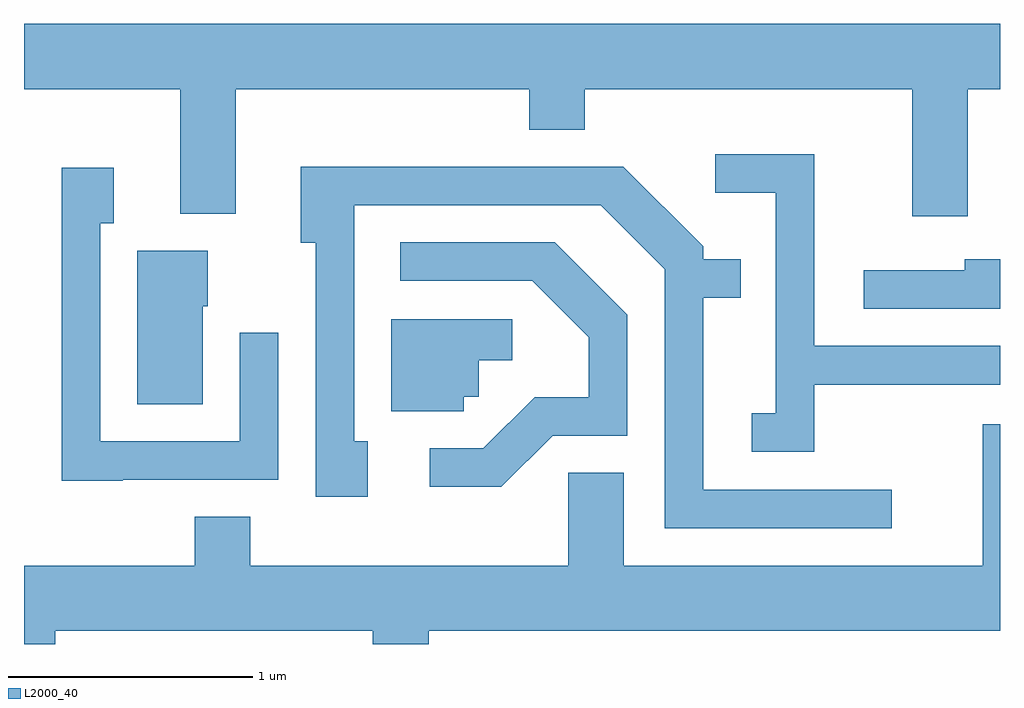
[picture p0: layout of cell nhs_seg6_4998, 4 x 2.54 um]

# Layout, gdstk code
import gdstk
lib = gdstk.Library(unit=1e-6, precision=1e-09)
def P(c, l, *ps):  # polygons
    for p in ps: c.add(gdstk.Polygon(p, *l))
L2000_40 = (2000, 40)

nhs_seg6_4998 = lib.new_cell('nhs_seg6_4998')
P(nhs_seg6_4998, L2000_40, [(341.479,1594.436),(341.611,1594.436),(341.611,1594.704),(337.611,1594.704),(337.611,1594.436),(338.251,1594.436),(338.251,1593.926),(338.479,1593.926),(338.479,1594.436),(339.681,1594.436),(339.681,1594.271),(339.909,1594.271),(339.909,1594.436),(341.251,1594.436),(341.251,1593.916),(341.479,1593.916)],
  [(340.849,1593.226),(341.611,1593.226),(341.611,1593.384),(340.849,1593.384),(340.849,1594.169),(340.443,1594.169),(340.443,1594.011),(340.691,1594.011),(340.691,1593.109),(340.593,1593.109),(340.593,1592.951),(340.849,1592.951)],
  [(341.168,1592.794),(340.394,1592.794),(340.394,1593.581),(340.548,1593.581),(340.548,1593.739),(340.394,1593.739),(340.394,1593.792),(340.067,1594.119),(338.746,1594.119),(338.746,1593.806),(338.806,1593.806),(338.806,1592.766),(339.019,1592.766),(339.019,1592.994),(338.964,1592.994),(338.964,1593.961),(339.974,1593.961),(340.236,1593.699),(340.236,1592.636),(341.168,1592.636)],
  [(338.015,1592.836),(338.654,1592.836),(338.654,1593.438),(338.496,1593.438),(338.496,1592.994),(337.924,1592.994),(337.924,1593.886),(337.979,1593.886),(337.979,1594.114),(337.766,1594.114),(337.766,1592.831),(338.015,1592.831)],
  [(339.777,1593.016),(340.084,1593.016),(340.084,1593.512),(339.787,1593.809),(339.153,1593.809),(339.153,1593.651),(339.694,1593.651),(339.926,1593.419),(339.926,1593.174),(339.704,1593.174),(339.494,1592.964),(339.273,1592.964),(339.273,1592.806),(339.567,1592.806)],
  [(338.344,1593.546),(338.364,1593.546),(338.364,1593.774),(338.076,1593.774),(338.076,1593.146),(338.344,1593.146)],
  [(341.611,1593.739),(341.466,1593.739),(341.466,1593.694),(341.053,1593.694),(341.053,1593.536),(341.611,1593.536)],
  [(339.414,1593.176),(339.474,1593.176),(339.474,1593.326),(339.613,1593.326),(339.613,1593.494),(339.116,1593.494),(339.116,1593.116),(339.414,1593.116)],
  [(337.739,1592.216),(339.041,1592.216),(339.041,1592.162),(339.269,1592.162),(339.269,1592.216),(341.611,1592.216),(341.611,1593.064),(341.541,1593.064),(341.541,1592.484),(340.069,1592.484),(340.069,1592.864),(339.841,1592.864),(339.841,1592.484),(338.539,1592.484),(338.539,1592.684),(338.311,1592.684),(338.311,1592.484),(337.611,1592.484),(337.611,1592.162),(337.739,1592.162)])

lib.write_gds('nhs_seg6_4998.gds')
